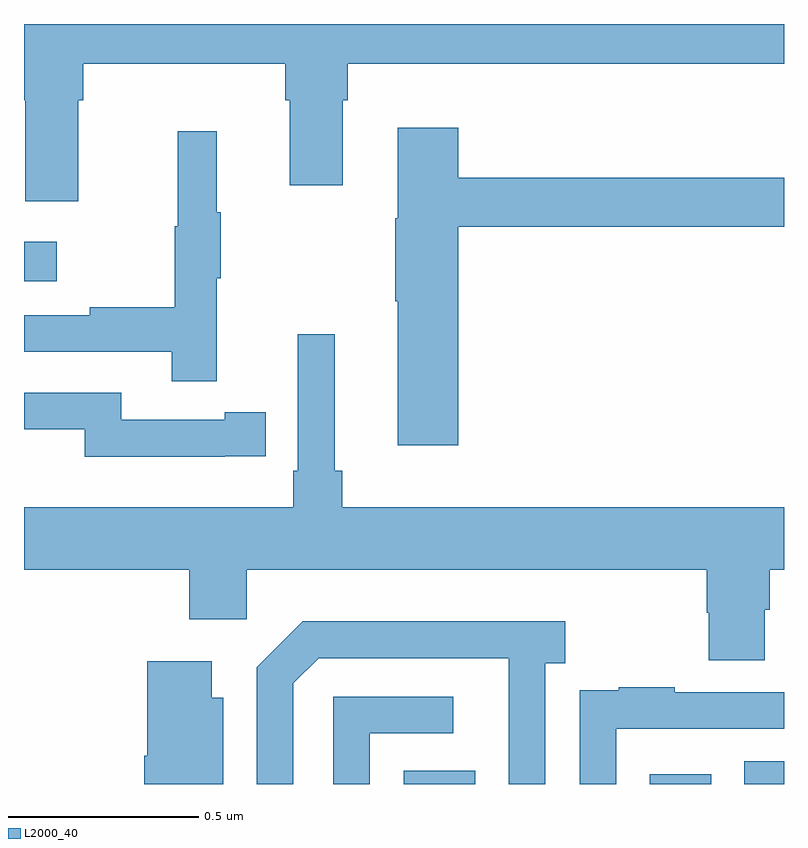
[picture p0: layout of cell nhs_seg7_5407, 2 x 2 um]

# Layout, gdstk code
import gdstk
lib = gdstk.Library(unit=1e-6, precision=1e-09)
def R(c, l, rs):  # rectangles x0, y0, x1, y1
    for r in rs: c.add(gdstk.rectangle(r[:2], r[2:], *l))
def P(c, l, *ps):  # polygons
    for p in ps: c.add(gdstk.Polygon(p, *l))
L2000_40 = (2000, 40)

nhs_seg7_5407 = lib.new_cell('nhs_seg7_5407')
R(nhs_seg7_5407, L2000_40, [(185.999,1052,186.187,1052.035), (186.647,1052,186.808,1052.026), (186.896,1052,187,1052.06), (185,1053.323,185.086,1053.427)])
P(nhs_seg7_5407, L2000_40, [(185.143,1053.8),(185.156,1053.8),(185.156,1053.896),(185.687,1053.896),(185.687,1053.8),(185.699,1053.8),(185.699,1053.576),(185.839,1053.576),(185.839,1053.8),(185.852,1053.8),(185.852,1053.896),(187,1053.896),(187,1054),(185,1054),(185,1053.8),(185.003,1053.8),(185.003,1053.534),(185.143,1053.534)],
  [(186.143,1053.466),(187,1053.466),(187,1053.595),(186.143,1053.595),(186.143,1053.727),(185.984,1053.727),(185.984,1053.489),(185.977,1053.489),(185.977,1053.271),(185.984,1053.271),(185.984,1052.892),(186.143,1052.892)],
  [(185.507,1053.331),(185.518,1053.331),(185.518,1053.505),(185.507,1053.505),(185.507,1053.718),(185.404,1053.718),(185.404,1053.468),(185.397,1053.468),(185.397,1053.254),(185.173,1053.254),(185.173,1053.234),(185,1053.234),(185,1053.138),(185.389,1053.138),(185.389,1053.06),(185.507,1053.06)],
  [(186.949,1052.458),(186.962,1052.458),(186.962,1052.564),(187,1052.564),(187,1052.728),(185.837,1052.728),(185.837,1052.824),(185.818,1052.824),(185.818,1053.184),(185.721,1053.184),(185.721,1052.824),(185.708,1052.824),(185.708,1052.728),(185,1052.728),(185,1052.564),(185.435,1052.564),(185.435,1052.433),(185.586,1052.433),(185.586,1052.564),(186.797,1052.564),(186.797,1052.451),(186.802,1052.451),(186.802,1052.326),(186.949,1052.326)],
  [(185.528,1052.862),(185.636,1052.862),(185.636,1052.978),(185.528,1052.978),(185.528,1052.958),(185.256,1052.958),(185.256,1053.03),(185,1053.03),(185,1052.934),(185.16,1052.934),(185.16,1052.861),(185.528,1052.861)],
  [(185.709,1052.265),(185.775,1052.331),(186.275,1052.331),(186.275,1052.131),(186.276,1052.131),(186.276,1052),(186.372,1052),(186.372,1052.318),(186.424,1052.318),(186.424,1052.428),(185.734,1052.428),(185.613,1052.307),(185.613,1052),(185.709,1052)],
  [(185.524,1052.227),(185.494,1052.227),(185.494,1052.323),(185.324,1052.323),(185.324,1052.074),(185.317,1052.074),(185.317,1052),(185.524,1052)],
  [(186.558,1052.145),(187,1052.145),(187,1052.241),(186.713,1052.241),(186.713,1052.254),(186.565,1052.254),(186.565,1052.247),(186.463,1052.247),(186.463,1052.138),(186.462,1052.138),(186.462,1052),(186.558,1052)],
  [(185.91,1052.133),(186.13,1052.133),(186.13,1052.229),(185.814,1052.229),(185.814,1052),(185.91,1052)])

lib.write_gds('nhs_seg7_5407.gds')
